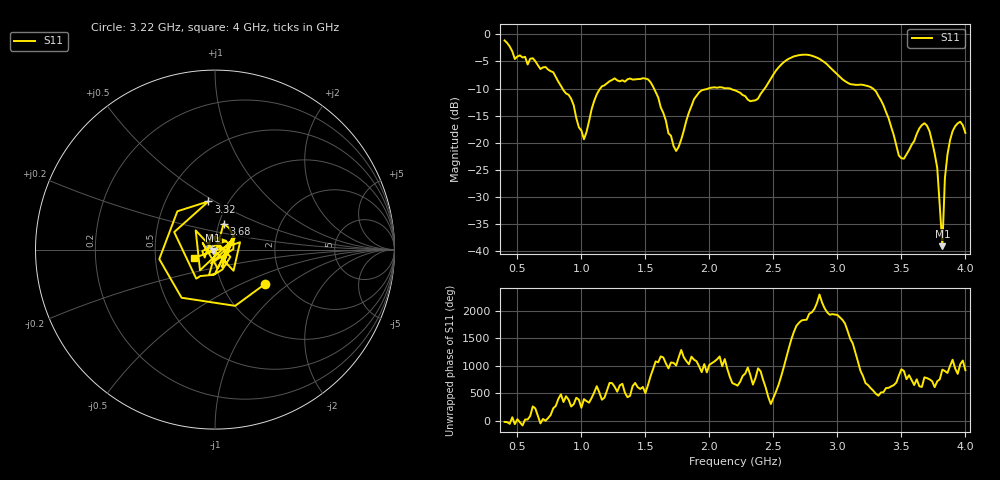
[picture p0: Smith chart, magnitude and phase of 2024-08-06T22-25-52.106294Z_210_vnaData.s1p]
!Created with skrf (http://scikit-rf.org).
# Hz S RI R 50.0
!freq ReS11 ImS11
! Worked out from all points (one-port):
!   181 points, 400 MHz to 4 GHz, reference 50 ohm
!   lowest |S11| = -39.0 dB at 3.82 GHz (marker M1), VSWR 1.02, Z = 49.1 - j0.577 ohm
!   |S11| at or under -10 dB: 852.2 MHz to 1.147 GHz (294.8 MHz wide, 29.5 % of centre); 1.567 GHz to 1.99 GHz (422.1 MHz wide, 23.7 % of centre); 3.278 GHz to end of sweep (the widest 3 of 4)
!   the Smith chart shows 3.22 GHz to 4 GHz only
!   S11 on the Smith chart (normalised r, x): 3.22 GHz: 1.59, -0.69; 3.32 GHz: 0.81, +0.47; 3.68 GHz: 1.05, +0.31; 4 GHz: 0.79, -0.07
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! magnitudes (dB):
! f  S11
! 400 MHz  -1.1
! 480 MHz  -4.5
! 620 MHz  -4.4
! 860 MHz  -10.3
! 920 MHz  -11.9
! 1.02 GHz  -19.3
! 1.14 GHz  -10.2
! 1.3 GHz  -8.7
! 1.52 GHz  -8.3
! 1.72 GHz  -20.6
! 1.76 GHz  -20.7
! 1.92 GHz  -10.7
! 2.2 GHz  -10.3
! 2.36 GHz  -12.2
! 2.66 GHz  -4.1
! 2.86 GHz  -4.5
! 3.1 GHz  -9.2
! 3.22 GHz  -9.4
! 3.32 GHz  -11.3
! 3.48 GHz  -22.3
! 3.56 GHz  -21.3
! 3.68 GHz  -16.4
! 3.78 GHz  -24.6
! 3.82 GHz  -39.0
! 3.84 GHz  -26.5
! 3.88 GHz  -19.5
! 3.96 GHz  -16.1
! 4 GHz  -18.2
